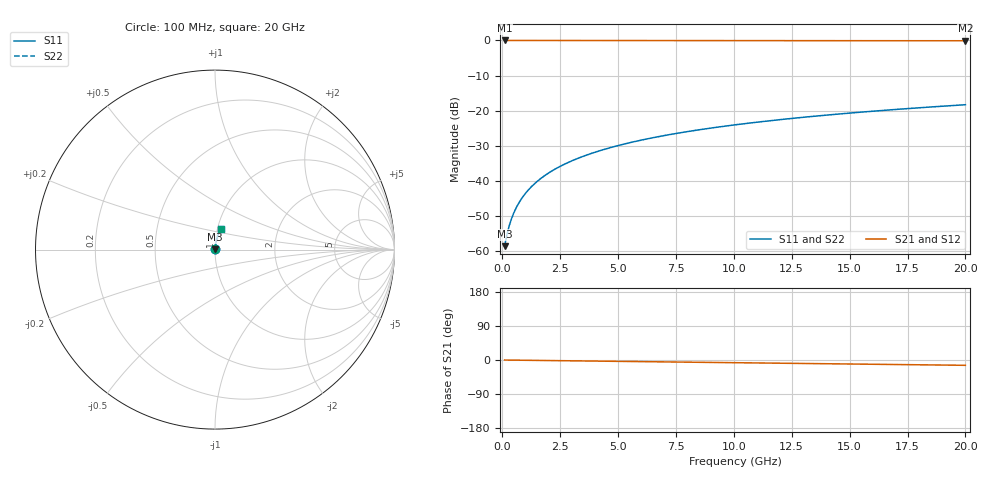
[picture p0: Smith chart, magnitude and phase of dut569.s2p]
! Touchstone file exported from HFSS 2026.1.0
!  File:  C:/ffzhzh/LocalFiles/Ansys_Project_Files/temp_train_TMRDL_569_1783008025_55676.aedt
!  Generated:  12:01:48 AM Jul  3, 2026
!  Design:  TMRDL
!  Project:  temp_train_TMRDL_569_1783008025_55676
! Variables:
!  h_bsmrdl = 2um
!  h_ox = 20um
!  h_rdl = 5um
!  h_sub = 80um
!  h_tmrdl = 3.34um
!  h_tsv = 80um
!  h_via = 3um
!  l_bsmrdl = 300um
!  l_sub = 578.26um
!  l_tmrdl = 178.26um
!  m_sub = 200um
!  pitch = 50.05um
!  r_tsv = 6um
!  s_tmrdl = 10um
!  w_bsmrdl = 18um
!  w_sub = 500um
!  w_tmrdl = 29.25um
!  x_tsv_center1 = 192.885um
!  x_tsv_center2 = 510.885um
!  x_tsv_center3 = 718.395um
!  x_tsv_center4 = 1036.395um
!  x_tsv_center5 = 1243.905um
!  x_tsv_center6 = 1561.905um
# GHz S MA R 50.000000
! Terminal data exported
! Port[1] = TM_RDL1_1_T1
! Port[2] = TM_RDL1_1_T2
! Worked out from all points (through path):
!   200 points, 100 MHz to 20 GHz, reference 50 ohm
!   highest |S21| = -0.01 dB at 100 MHz (marker M1); lowest = -0.1 dB at 20 GHz (marker M2)
!   group delay of S21, straight-line fit = 1.95 ps
!   lowest |S11| = -58.6 dB at 100 MHz (marker M3), VSWR 1.00, Z = 50.1 + j0.0732 ohm
!   |S11| at or under -10 dB: start of sweep to end of sweep
!   |S22| runs from -58.6 to -18.3 dB; largest |S21 - S12| = 3.2e-15
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0.1  0.001179 38.3  0.9991 -0.1  0.9991 -0.1  0.001179 38.3
! Gamma 0 0 0 0
! Port Impedance 50 0 50 0
0.2  0.001722 55.0  0.999 -0.2  0.999 -0.2  0.001721 55.0
0.3  0.002309 63.3  0.999 -0.2  0.999 -0.2  0.002307 63.3
0.4  0.002911 68.2  0.9989 -0.3  0.9989 -0.3  0.00291 68.3
0.5  0.003524 71.6  0.9989 -0.4  0.9989 -0.4  0.003524 71.6
0.6  0.004143 73.9  0.9988 -0.4  0.9988 -0.4  0.004144 74.0
0.8  0.005392 77.0  0.9988 -0.6  0.9988 -0.6  0.005394 77.1
1.1  0.007279 79.7  0.9987 -0.8  0.9987 -0.8  0.00728 79.7
1.5  0.009804 81.5  0.9987 -1.1  0.9987 -1.1  0.009804 81.5
1.8  0.0117 82.3  0.9986 -1.3  0.9986 -1.3  0.0117 82.3
2.1  0.0136 82.8  0.9986 -1.5  0.9986 -1.5  0.0136 82.8
2.7  0.0174 83.4  0.9984 -1.9  0.9984 -1.9  0.0174 83.4
3.5  0.02245 83.5  0.9982 -2.5  0.9982 -2.5  0.02245 83.5
4.2  0.02686 83.4  0.998 -3.0  0.998 -3.0  0.02686 83.4
5  0.03187 83.2  0.9977 -3.6  0.9977 -3.6  0.03187 83.2
5.9  0.03747 82.7  0.9973 -4.2  0.9973 -4.2  0.03747 82.7
6.8  0.04304 82.3  0.9969 -4.9  0.9969 -4.9  0.04304 82.3
8.3  0.05225 81.4  0.9962 -5.9  0.9962 -5.9  0.05224 81.4
10.1  0.06318 80.3  0.9952 -7.2  0.9952 -7.2  0.06318 80.3
13.4  0.08295 78.2  0.9932 -9.5  0.9932 -9.5  0.08295 78.2
16.7  0.1024 76.1  0.991 -11.8  0.991 -11.8  0.1024 76.2
20  0.1215 74.0  0.9885 -14.0  0.9885 -14.0  0.1215 74.0
